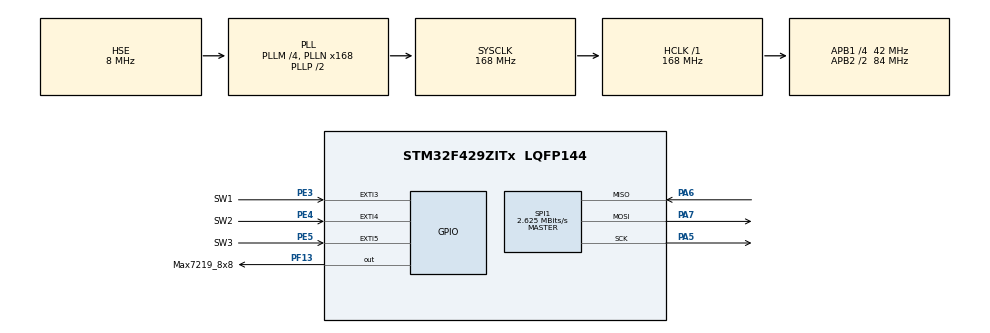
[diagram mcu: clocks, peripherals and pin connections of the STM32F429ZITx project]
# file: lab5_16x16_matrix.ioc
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FREERTOS.Tasks01=defaultTask,24,128,StartDefaultTask,Default,NULL,Dynamic,NULL,NULL
Mcu.Family=STM32F4
Mcu.Name=STM32F429ZITx
Mcu.Package=LQFP144
NVIC.EXTI3_IRQn=true\:5\:0\:false\:false\:true\:true\:true\:true\:true
NVIC.EXTI4_IRQn=true\:5\:0\:false\:false\:true\:true\:true\:true\:true
NVIC.EXTI9_5_IRQn=true\:5\:0\:false\:false\:true\:true\:true\:true\:true
NVIC.PriorityGroup=NVIC_PRIORITYGROUP_4
NVIC.TIM2_IRQn=true\:5\:0\:false\:false\:true\:true\:true\:true\:true
PA13.Mode=Serial_Wire
PA13.Signal=SYS_JTMS-SWDIO
PA14.Mode=Serial_Wire
PA14.Signal=SYS_JTCK-SWCLK
PA5.Mode=Full_Duplex_Master
PA5.Signal=SPI1_SCK
PA6.Mode=Full_Duplex_Master
PA6.Signal=SPI1_MISO
PA7.Mode=Full_Duplex_Master
PA7.Signal=SPI1_MOSI
PC14/OSC32_IN.Mode=LSE-External-Oscillator
PC14/OSC32_IN.Signal=RCC_OSC32_IN
PC15/OSC32_OUT.Mode=LSE-External-Oscillator
PC15/OSC32_OUT.Signal=RCC_OSC32_OUT
PE3.GPIO_Label=SW1
PE3.Signal=GPXTI3
PE4.GPIO_Label=SW2
PE4.Signal=GPXTI4
PE5.GPIO_Label=SW3
PE5.Signal=GPXTI5
PF13.GPIO_Label=Max7219_8x8
PF13.Signal=GPIO_Output
PH0/OSC_IN.Mode=HSE-External-Oscillator
PH0/OSC_IN.Signal=RCC_OSC_IN
PH1/OSC_OUT.Mode=HSE-External-Oscillator
PH1/OSC_OUT.Signal=RCC_OSC_OUT
ProjectManager.HeapSize=0x200
ProjectManager.StackSize=0x400
ProjectManager.TargetToolchain=MDK-ARM V5.32
RCC.48MHZClocksFreq_Value=48000000
RCC.AHBFreq_Value=168000000
RCC.APB1CLKDivider=RCC_HCLK_DIV4
RCC.APB1Freq_Value=42000000
RCC.APB1TimFreq_Value=84000000
RCC.APB2CLKDivider=RCC_HCLK_DIV2
RCC.APB2Freq_Value=84000000
RCC.APB2TimCLKDivider=2
RCC.APB2TimFreq_Value=168000000
RCC.CortexFreq_Value=168000000
RCC.HCLKFreq_Value=168000000
RCC.HSE_VALUE=8000000
RCC.HSI_VALUE=16000000
RCC.PLLM=4
RCC.PLLMUL=RCC_PLL_MUL9
RCC.PLLN=168
RCC.PLLQ=7
RCC.PLLSourceVirtual=RCC_PLLSOURCE_HSE
RCC.PRESCALERUSB=RCC_USBCLKSOURCE_PLL_DIV1_5
RCC.SYSCLKFreq_VALUE=168000000
RCC.SYSCLKSource=RCC_SYSCLKSOURCE_PLLCLK
RCC.SYSCLKSourceVirtual=RCC_SYSCLKSOURCE_PLLCLK
RCC.USBFreq_Value=48000000
RCC.VCOOutputFreq_Value=336000000
SPI1.BaudRatePrescaler=SPI_BAUDRATEPRESCALER_32
SPI1.CalculateBaudRate=2.625 MBits/s
SPI1.Direction=SPI_DIRECTION_2LINES
SPI1.Mode=SPI_MODE_MASTER
SPI1.VirtualType=VM_MASTER
TIM2.Period=999
TIM2.Prescaler=83
VP_FREERTOS_VS_CMSIS_V2.Mode=CMSIS_V2
VP_TIM2_VS_ClockSourceINT.Mode=Internal
board=NUCLEO-F429ZI

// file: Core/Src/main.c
/* USER CODE BEGIN Header */
/**
  ******************************************************************************
  * @file           : main.c
  * @brief          : Main program body
  ******************************************************************************
  * @attention
  *
  * Copyright (c) 2024 STMicroelectronics.
  * All rights reserved.
  *
  * This software is licensed under terms that can be found in the LICENSE file
  * in the root directory of this software component.
  * If no LICENSE file comes with this software, it is provided AS-IS.
  *
  ******************************************************************************
  */
/* USER CODE END Header */
#include "main.h"
#include "cmsis_os.h"
#include "spi.h"
#include "tim.h"
#include "gpio.h"

/* USER CODE BEGIN Includes */
#include "FreeRTOS.h"
#include "queue.h"
#include "task.h"
#include "max7219.h"
/* USER CODE END Includes */

/* USER CODE BEGIN PV */
//matrix
QueueHandle_t queueSwitch;
uint8_t number_0[8] = {0x00,0x0E,0x0A,0x0A,0x0A,0x0E,0x00,0x00};
uint8_t number_1[8] = {0x00,0x02,0x02,0x02,0x02,0x02,0x00,0x00};
uint8_t number_2[8] = {0x00,0x0E,0x02,0x0E,0x08,0x0E,0x00,0x00};
uint8_t number_3[8] = {0x00,0x0E,0x02,0x0E,0x02,0x0E,0x00,0x00};
uint8_t number_4[8] = {0x00,0x0A,0x0A,0x0E,0x02,0x02,0x00,0x00};
uint8_t number_5[8] = {0x00,0x0E,0x08,0x0E,0x02,0x0E,0x00,0x00};
uint8_t number_6[8] = {0x00,0x08,0x08,0x0E,0x0A,0x0E,0x00,0x00};
uint8_t number_7[8] = {0x00,0x0E,0x0A,0x02,0x02,0x02,0x00,0x00};
uint8_t number_8[8] = {0x00,0x0E,0x0A,0x0E,0x0A,0x0E,0x00,0x00};
uint8_t number_9[8] = {0x00,0x0E,0x0A,0x0E,0x02,0x02,0x00,0x00};
uint8_t numbers[10][8] = {
			{0x00,0x0E,0x0A,0x0A,0x0A,0x0E,0x00,0x00},
			{0x00,0x02,0x02,0x02,0x02,0x02,0x00,0x00},
			{0x00,0x0E,0x02,0x0E,0x08,0x0E,0x00,0x00},
			{0x00,0x0E,0x02,0x0E,0x02,0x0E,0x00,0x00},
			{0x00,0x0A,0x0A,0x0E,0x02,0x02,0x00,0x00},
			{0x00,0x0E,0x08,0x0E,0x02,0x0E,0x00,0x00},
			{0x00,0x08,0x08,0x0E,0x0A,0x0E,0x00,0x00},
			{0x00,0x0E,0x0A,0x02,0x02,0x02,0x00,0x00},
			{0x00,0x0E,0x0A,0x0E,0x0A,0x0E,0x00,0x00},
			{0x00,0x0E,0x0A,0x0E,0x02,0x02,0x00,0x00}
};

uint8_t Max7219_data[4];
uint8_t Max7219_data1[4];

uint8_t screen1[4];
uint8_t screen2[4];
uint8_t screen3[4];
uint8_t screen4[4];

TaskHandle_t handleMatrix;
/* USER CODE END PV */

void SystemClock_Config(void);
void MX_FREERTOS_Init(void);

/* USER CODE BEGIN 0 */
uint16_t counter = 0,sec=0;
void HAL_TIM_PeriodElapsedCallback(TIM_HandleTypeDef *htim){
	 if(htim==&htim2){
		if(counter < 1000)
		{
		counter++;
		}else
		{
			sec++;
			counter=0;
		}
	 }
}

void taskMatrix(void *pvParm){
	uint8_t select = 0;
	uint8_t units =0,tens=0, hundreds =0;
	uint8_t unit =0,ten=0, hundred =0,thousand =0;

	while(1){
	xQueueReceiveFromISR(queueSwitch, &select, NULL);
	switch(select){
				case 1:{
						HAL_TIM_Base_Start_IT(&htim2);
						//__HAL_TIM_SET_COUNTER(&htim2,0);
						//counter =__HAL_TIM_GET_COUNTER(&htim2);
					  //counter = (counter + 1) % 1000;
						units = counter %10 ;
						tens = (counter /10)%10;
						hundreds =(counter/100)%10;

						unit = sec %10 ;
						ten = (sec /10)%10;
						hundred =(sec/100)%10;
						thousand =(sec/1000)%10;
						for(int i = 0; i < 8; i++)//one step one line > so run 8 times
						{
							screen1[i] = numbers[hundred][i]| (numbers[thousand][i] << 4);
							screen2[i] = numbers[unit][i]| (numbers[ten][i] << 4);
							screen3[i] = numbers[units][i]| (numbers[tens][i] << 4);
							//screen4[i] = numbers[0][i]| (numbers[0][i] << 4);
							Max7219_data1[0] = screen1[i];
							Max7219_data1[1] = screen2[i];
							Max7219_data1[3] = screen3[i];
							Max7219_data1[2] = numbers[hundreds][i];

							Write_Matrix(i + 1,Max7219_data1);
						}

					break;
				}

				case 2:{
						HAL_TIM_Base_Stop_IT(&htim2);

					break;
				}

				case 3:{
					__HAL_TIM_SET_COUNTER(&htim2, 0);
					counter=0;
					sec=0;
					for(int i = 0; i < 8; i++)//one step one line > so run 8 times
					{
					Max7219_data[i] = numbers[0][i]| (numbers[0][i] << 4);
					Max7219_data1[0] = Max7219_data[i];
					Max7219_data1[1] = Max7219_data[i];
					Max7219_data1[3] = Max7219_data[i];
					Max7219_data1[2] = numbers[0][i];

					Write_Matrix(i + 1,Max7219_data1);

					}
					break;
				}
				default:

					for(int i = 0; i < 8; i++)//one step one line > so run 8 times
					{
					Max7219_data[i] = numbers[0][i]| (numbers[0][i] << 4);
					Max7219_data1[0] = Max7219_data[i];
					Max7219_data1[1] = Max7219_data[i];
					Max7219_data1[3] = Max7219_data[i];
					Max7219_data1[2] = numbers[0][i];

					Write_Matrix(i + 1,Max7219_data1);

					}
					break;
			}
	}
}
void HAL_GPIO_EXTI_Callback(uint16_t GPIO_Pin){
	uint8_t mode = 0;

	switch(GPIO_Pin){
		//sw1 PE3
		case GPIO_PIN_3:
		{
			if(HAL_GPIO_ReadPin(SW1_GPIO_Port, SW1_Pin) == 1){
				mode = 1;
				//printf("display mode:default \r\n");
				//HAL_TIM_Base_Start_IT(&htim2);
				xQueueSendFromISR(queueSwitch, &mode, NULL);
			}
			break;
		}

		//sw2 PE4
		case GPIO_PIN_4:
		{
			if(HAL_GPIO_ReadPin(SW2_GPIO_Port, SW2_Pin) == 1){
				mode = 2;
				//printf("display mode:student id \r\n");
				xQueueSendFromISR(queueSwitch, &mode, NULL);
			}
			break;
		}
		case GPIO_PIN_5: //sw3 PE5
		{
			if(HAL_GPIO_ReadPin(SW3_GPIO_Port, SW3_Pin) ==0){
			mode = 3;
			//printf("display mode:system startup timer \r\n");
			xQueueSendFromISR(queueSwitch, &mode, NULL); }
			break;
		}

		default:
			mode = 0;
			xQueueSendFromISR(queueSwitch, &mode, NULL);
			//printf("unknown irq happend \r\n");
			break;
	}
}
/* USER CODE END 0 */

int main(void)
{

  /* MCU Configuration--------------------------------------------------------*/

  /* Reset of all peripherals, Initializes the Flash interface and the Systick. */
  HAL_Init();

  /* Configure the system clock */
  SystemClock_Config();

  /* Initialize all configured peripherals */
  MX_GPIO_Init();
  MX_SPI1_Init();
  MX_TIM2_Init();
  /* USER CODE BEGIN 2 */
	Init_MAX7219_8x8();
	xTaskCreate(taskMatrix, "Matrix", 512, NULL, 1, &handleMatrix);
	queueSwitch = xQueueCreate(3, sizeof(uint8_t));
  vTaskStartScheduler();
  /* USER CODE END 2 */

  /* Init scheduler */
  osKernelInitialize();  /* Call init function for freertos objects (in freertos.c) */
  MX_FREERTOS_Init();

  /* Start scheduler */
  osKernelStart();

  /* We should never get here as control is now taken by the scheduler */
  /* Infinite loop */
  while (1)
  {

  }
}

void SystemClock_Config(void)
{
  RCC_OscInitTypeDef RCC_OscInitStruct = {0};
  RCC_ClkInitTypeDef RCC_ClkInitStruct = {0};

  /** Configure the main internal regulator output voltage
  */
  __HAL_RCC_PWR_CLK_ENABLE();
  __HAL_PWR_VOLTAGESCALING_CONFIG(PWR_REGULATOR_VOLTAGE_SCALE1);

  /** Initializes the RCC Oscillators according to the specified parameters
  * in the RCC_OscInitTypeDef structure.
  */
  RCC_OscInitStruct.OscillatorType = RCC_OSCILLATORTYPE_HSE;
  RCC_OscInitStruct.HSEState = RCC_HSE_ON;
  RCC_OscInitStruct.PLL.PLLState = RCC_PLL_ON;
  RCC_OscInitStruct.PLL.PLLSource = RCC_PLLSOURCE_HSE;
  RCC_OscInitStruct.PLL.PLLM = 4;
  RCC_OscInitStruct.PLL.PLLN = 168;
  RCC_OscInitStruct.PLL.PLLP = RCC_PLLP_DIV2;
  RCC_OscInitStruct.PLL.PLLQ = 7;
  if (HAL_RCC_OscConfig(&RCC_OscInitStruct) != HAL_OK)
  {
    Error_Handler();
  }

  /** Initializes the CPU, AHB and APB buses clocks
  */
  RCC_ClkInitStruct.ClockType = RCC_CLOCKTYPE_HCLK|RCC_CLOCKTYPE_SYSCLK
                              |RCC_CLOCKTYPE_PCLK1|RCC_CLOCKTYPE_PCLK2;
  RCC_ClkInitStruct.SYSCLKSource = RCC_SYSCLKSOURCE_PLLCLK;
  RCC_ClkInitStruct.AHBCLKDivider = RCC_SYSCLK_DIV1;
  RCC_ClkInitStruct.APB1CLKDivider = RCC_HCLK_DIV4;
  RCC_ClkInitStruct.APB2CLKDivider = RCC_HCLK_DIV2;

  if (HAL_RCC_ClockConfig(&RCC_ClkInitStruct, FLASH_LATENCY_5) != HAL_OK)
  {
    Error_Handler();
  }
}

void Error_Handler(void)
{
  __disable_irq();
  while (1)
  {
  }
}
